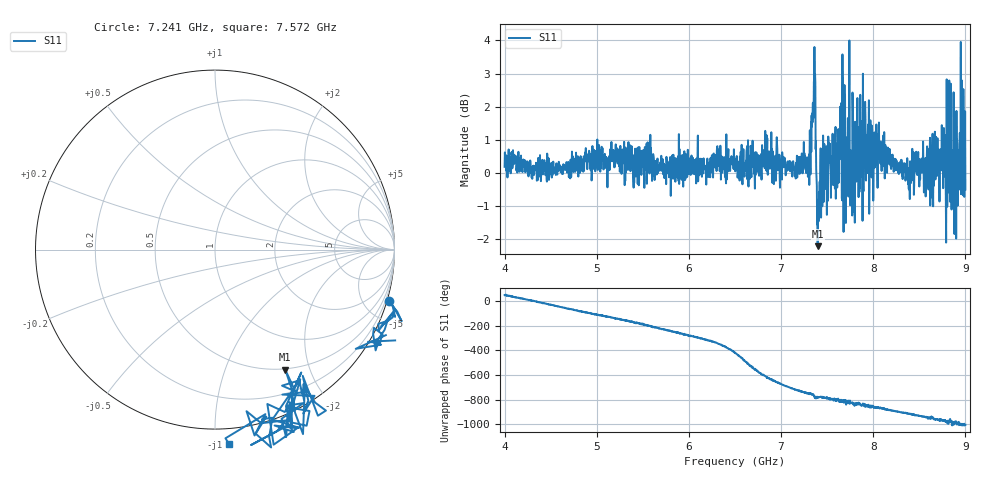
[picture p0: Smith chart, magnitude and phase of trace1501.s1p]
! Created with skrf 1.8.0 (http://scikit-rf.org).
# Hz S RI R 50.0
!freq ReS11 ImS11
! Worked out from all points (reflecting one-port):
!   1601 points, 4 GHz to 9 GHz, reference 50 ohm
!   lowest |S11| = -2.2 dB at 7.397 GHz (marker M1), VSWR 7.91, Z = 24.4 - j81.8 ohm
!   phase of S11 starts at 48 deg and turns -1051 deg over the sweep
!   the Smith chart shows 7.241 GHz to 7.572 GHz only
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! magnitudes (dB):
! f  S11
! 4 GHz  0.2
! 4.625 GHz  0.0
! 5.25 GHz  0.0
! 5.875 GHz  0.2
! 6.5 GHz  0.3
! 6.85 GHz  1.1
! 7.125 GHz  0.3
! 7.294 GHz  0.0
! 7.347 GHz  2.1
! 7.369 GHz  3.0
! 7.397 GHz  -2.2
! 7.412 GHz  -0.6
! 7.509 GHz  -0.8
! 7.609 GHz  -0.4
! 7.647 GHz  0.8
! 7.703 GHz  -1.5
! 7.75 GHz  -1.0
! 7.775 GHz  2.4
! 7.928 GHz  1.1
! 8.375 GHz  0.1
! 8.444 GHz  -0.4
! 8.625 GHz  -0.7
! 8.75 GHz  0.3
! 8.797 GHz  2.8
! 8.819 GHz  -0.6
! 8.875 GHz  0.1
! 8.959 GHz  2.8
! 9 GHz  -0.5
